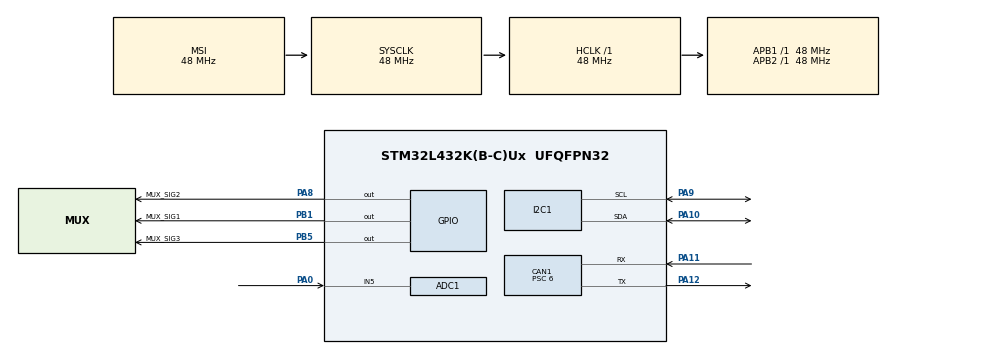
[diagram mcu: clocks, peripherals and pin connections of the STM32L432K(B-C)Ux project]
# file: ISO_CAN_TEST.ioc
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ADC1.Channel-0\#ChannelRegularConversion=ADC_CHANNEL_5
ADC1.NbrOfConversionFlag=1
ADC1.OffsetNumber-0\#ChannelRegularConversion=ADC_OFFSET_NONE
ADC1.Rank-0\#ChannelRegularConversion=1
ADC1.Resolution=ADC_RESOLUTION_12B
ADC1.SamplingTime-0\#ChannelRegularConversion=ADC_SAMPLETIME_2CYCLES_5
ADC1.master=1
CAN1.ABOM=ENABLE
CAN1.AWUM=ENABLE
CAN1.BS1=CAN_BS1_13TQ
CAN1.BS2=CAN_BS2_2TQ
CAN1.CalculateBaudRate=500000
CAN1.CalculateTimeBit=2000
CAN1.CalculateTimeQuantum=125.0
CAN1.Prescaler=6
I2C1.Timing=0x10805D88
Mcu.Family=STM32L4
Mcu.Name=STM32L432K(B-C)Ux
Mcu.Package=UFQFPN32
NVIC.CAN1_RX0_IRQn=true\:0\:0\:false\:false\:true\:true\:true\:true
NVIC.CAN1_TX_IRQn=true\:0\:0\:false\:false\:true\:true\:true\:true
NVIC.PriorityGroup=NVIC_PRIORITYGROUP_4
PA0.Signal=ADCx_IN5
PA10.GPIO_Pu=GPIO_PULLUP
PA10.Mode=I2C
PA10.Signal=I2C1_SDA
PA11.Mode=CAN_Activate
PA11.Signal=CAN1_RX
PA12.Mode=CAN_Activate
PA12.Signal=CAN1_TX
PA8.GPIO_Label=MUX_SIG2
PA8.GPIO_ModeDefaultOutputPP=GPIO_MODE_OUTPUT_PP
PA8.GPIO_PuPd=GPIO_PULLDOWN
PA8.PinState=GPIO_PIN_SET
PA8.Signal=GPIO_Output
PA9.GPIO_Pu=GPIO_PULLUP
PA9.Mode=I2C
PA9.Signal=I2C1_SCL
PB1.GPIO_Label=MUX_SIG1
PB1.GPIO_ModeDefaultOutputPP=GPIO_MODE_OUTPUT_PP
PB1.GPIO_PuPd=GPIO_PULLDOWN
PB1.PinState=GPIO_PIN_SET
PB1.Signal=GPIO_Output
PB5.GPIO_Label=MUX_SIG3
PB5.GPIO_ModeDefaultOutputPP=GPIO_MODE_OUTPUT_PP
PB5.GPIO_PuPd=GPIO_PULLDOWN
PB5.PinState=GPIO_PIN_SET
PB5.Signal=GPIO_Output
ProjectManager.HeapSize=0x200
ProjectManager.StackSize=0x400
ProjectManager.TargetToolchain=Makefile
RCC.ADCFreq_Value=64000000
RCC.AHBFreq_Value=48000000
RCC.APB1Freq_Value=48000000
RCC.APB1TimFreq_Value=48000000
RCC.APB2Freq_Value=48000000
RCC.APB2TimFreq_Value=48000000
RCC.CortexFreq_Value=48000000
RCC.HCLKFreq_Value=48000000
RCC.HSE_VALUE=8000000
RCC.HSI48_VALUE=48000000
RCC.HSI_VALUE=16000000
RCC.LSE_VALUE=32768
RCC.MSIClockRange=RCC_MSIRANGE_11
RCC.MSI_VALUE=48000000
RCC.PLLM=3
RCC.SYSCLKFreq_VALUE=48000000
RCC.USBFreq_Value=64000000
RCC.VCOOutputFreq_Value=128000000
SH.ADCx_IN5.0=ADC1_IN5,IN5-Single-Ended
VP_CRC_VS_CRC.Mode=CRC_Activate
board=custom

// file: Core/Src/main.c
/* USER CODE BEGIN Header */
/**
  ******************************************************************************
  * @file           : main.c
  * @brief          : Main program body
  ******************************************************************************
  * @attention
  *
  * Copyright (c) 2025 STMicroelectronics.
  * All rights reserved.
  *
  * This software is licensed under terms that can be found in the LICENSE file
  * in the root directory of this software component.
  * If no LICENSE file comes with this software, it is provided AS-IS.
  *
  ******************************************************************************
  */
/* USER CODE END Header */
#include "main.h"

/* USER CODE BEGIN Includes */
#include <stdint.h>
#include "system_config.h"
#include "bq76952_driver.h"
#include "can_handler.h"
#include "adc_handler.h"
/* USER CODE END Includes */

ADC_HandleTypeDef hadc1;

CAN_HandleTypeDef hcan1;

CRC_HandleTypeDef hcrc;

I2C_HandleTypeDef hi2c1;

void SystemClock_Config(void);
static void MX_GPIO_Init(void);
static void MX_ADC1_Init(void);
static void MX_CAN1_Init(void);
static void MX_CRC_Init(void);
static void MX_I2C1_Init(void);

int main(void)
{

  /* MCU Configuration--------------------------------------------------------*/

  /* Reset of all peripherals, Initializes the Flash interface and the Systick. */
  HAL_Init();

  /* Configure the system clock */
  SystemClock_Config();

  /* Initialize all configured peripherals */
  MX_GPIO_Init();
  MX_ADC1_Init();
  MX_CAN1_Init();
  MX_CRC_Init();
  MX_I2C1_Init();
  /* USER CODE BEGIN 2 */

  // Configure CAN
  CAN_Config();

  // Start CAN
  if (HAL_CAN_Start(&hcan1) != HAL_OK) {
    Error_Handler();
  }

  // Enable CAN RX interrupt for receiving temperature threshold commands
  if (HAL_CAN_ActivateNotification(&hcan1, CAN_IT_RX_FIFO0_MSG_PENDING) != HAL_OK) {
    Error_Handler();
  }

  // Enable CAN TX interrupt for transmission complete notifications
  if (HAL_CAN_ActivateNotification(&hcan1, CAN_IT_TX_MAILBOX_EMPTY) != HAL_OK) {
    Error_Handler();
  }

  // Calibrate ADC
  if (HAL_ADCEx_Calibration_Start(&hadc1, ADC_SINGLE_ENDED) != HAL_OK) {
    Error_Handler();
  }

  /* USER CODE END 2 */

  /* Infinite loop */
  /* USER CODE BEGIN WHILE */
  static uint32_t heartbeat_counter = 0;
  static uint32_t thermistor_counter = 0;
  float thermistor_temps[8];  // Array to store all 8 thermistor temperatures
  float adc_voltages[8];      // Array to store all 8 ADC voltage readings

  while (1)
  {
    /* USER CODE END WHILE */

    /* USER CODE BEGIN 3 */

    // Spread the heavy processing across multiple cycles to avoid timing hiccups
    uint8_t cycle_phase = thermistor_counter % 10;  // Changed to 10-cycle pattern for 0.1sec temp updates

    // Set MUX to current channel first (before any heavy processing)
    uint8_t current_channel = thermistor_counter % 8;  // Still cycle through 8 MUX channels
    MUX_SetChannel(current_channel);

    // Read single ADC value for current MUX channel (after MUX has settled)
    //uint16_t adc_value = ADC_ReadValue();

    // Single channel telemetry disabled for faster operation
    // CAN_TxThermistorData(current_channel, adc_value);

    // Do the heavy processing only on specific cycles, spread out
    if (cycle_phase == 0) {
      // Read all thermistor temperatures (cycle 0)
      ADC_ReadAllThermistors(thermistor_temps);
    } else if (cycle_phase == 1) {
      // Send thermistor temperatures in multiplexed CAN messages (cycle 1)
      CAN_TxAllThermistorsMux(thermistor_temps);
    } else if (cycle_phase == 2) {
      // Read all voltages (cycle 2) - kept for potential future use
      ADC_ReadAllVoltages(adc_voltages);
    } else if (cycle_phase == 3) {
      // ADC voltage telemetry disabled - no longer sending TELEMETRY_ADC messages
      // CAN_TxAllVoltagesMux(adc_voltages);
    }

    // Do lighter processing every cycle
    if (cycle_phase == 4) {
      // Read stack voltage from BQ76952 BMS
      uint16_t stack_voltage_mv = BQ76952_ReadStackVoltage();
      // Send stack voltage telemetry
      CAN_TxStackVoltage(stack_voltage_mv);
    } else if (cycle_phase == 5) {
      // Send all cell voltages in grouped format
      CAN_TxAllCellVoltagesMux();
    } else if (cycle_phase == 6) {
      // Process temperature-related CAN requests
      CAN_ProcessTemperatureRequests();
    }

    // Send heartbeat message every 1000 cycles (every 10 seconds with 10ms delay)
    if ((heartbeat_counter % 1000) == 0) {
      CAN_SendHeartbeat(heartbeat_counter);

      // Reset the RX flag after reporting it in heartbeat
      can_rx_flag = 0;
    }

    heartbeat_counter++;
    thermistor_counter++;

    // Very fast 10ms delay for 0.01 second per channel cycling
    HAL_Delay(10);
  }
  /* USER CODE END 3 */
}

void SystemClock_Config(void)
{
  RCC_OscInitTypeDef RCC_OscInitStruct = {0};
  RCC_ClkInitTypeDef RCC_ClkInitStruct = {0};

  /** Configure the main internal regulator output voltage
  */
  if (HAL_PWREx_ControlVoltageScaling(PWR_REGULATOR_VOLTAGE_SCALE1) != HAL_OK)
  {
    Error_Handler();
  }

  /** Initializes the RCC Oscillators according to the specified parameters
  * in the RCC_OscInitTypeDef structure.
  */
  RCC_OscInitStruct.OscillatorType = RCC_OSCILLATORTYPE_MSI;
  RCC_OscInitStruct.MSIState = RCC_MSI_ON;
  RCC_OscInitStruct.MSICalibrationValue = 0;
  RCC_OscInitStruct.MSIClockRange = RCC_MSIRANGE_11;
  RCC_OscInitStruct.PLL.PLLState = RCC_PLL_NONE;
  if (HAL_RCC_OscConfig(&RCC_OscInitStruct) != HAL_OK)
  {
    Error_Handler();
  }

  /** Initializes the CPU, AHB and APB buses clocks
  */
  RCC_ClkInitStruct.ClockType = RCC_CLOCKTYPE_HCLK|RCC_CLOCKTYPE_SYSCLK
                              |RCC_CLOCKTYPE_PCLK1|RCC_CLOCKTYPE_PCLK2;
  RCC_ClkInitStruct.SYSCLKSource = RCC_SYSCLKSOURCE_MSI;
  RCC_ClkInitStruct.AHBCLKDivider = RCC_SYSCLK_DIV1;
  RCC_ClkInitStruct.APB1CLKDivider = RCC_HCLK_DIV1;
  RCC_ClkInitStruct.APB2CLKDivider = RCC_HCLK_DIV1;

  if (HAL_RCC_ClockConfig(&RCC_ClkInitStruct, FLASH_LATENCY_2) != HAL_OK)
  {
    Error_Handler();
  }
}

static void MX_ADC1_Init(void)
{

  ADC_ChannelConfTypeDef sConfig = {0};

  /** Common config
  */
  hadc1.Instance = ADC1;
  hadc1.Init.ClockPrescaler = ADC_CLOCK_ASYNC_DIV1;
  hadc1.Init.Resolution = ADC_RESOLUTION_12B;
  hadc1.Init.DataAlign = ADC_DATAALIGN_RIGHT;
  hadc1.Init.ScanConvMode = ADC_SCAN_DISABLE;
  hadc1.Init.EOCSelection = ADC_EOC_SINGLE_CONV;
  hadc1.Init.LowPowerAutoWait = DISABLE;
  hadc1.Init.ContinuousConvMode = DISABLE;
  hadc1.Init.NbrOfConversion = 1;
  hadc1.Init.DiscontinuousConvMode = DISABLE;
  hadc1.Init.ExternalTrigConv = ADC_SOFTWARE_START;
  hadc1.Init.ExternalTrigConvEdge = ADC_EXTERNALTRIGCONVEDGE_NONE;
  hadc1.Init.DMAContinuousRequests = DISABLE;
  hadc1.Init.Overrun = ADC_OVR_DATA_PRESERVED;
  hadc1.Init.OversamplingMode = DISABLE;
  if (HAL_ADC_Init(&hadc1) != HAL_OK)
  {
    Error_Handler();
  }

  /** Configure Regular Channel
  */
  sConfig.Channel = ADC_CHANNEL_5;
  sConfig.Rank = ADC_REGULAR_RANK_1;
  sConfig.SamplingTime = ADC_SAMPLETIME_2CYCLES_5;
  sConfig.SingleDiff = ADC_SINGLE_ENDED;
  sConfig.OffsetNumber = ADC_OFFSET_NONE;
  sConfig.Offset = 0;
  if (HAL_ADC_ConfigChannel(&hadc1, &sConfig) != HAL_OK)
  {
    Error_Handler();
  }

}

static void MX_CAN1_Init(void)
{

  hcan1.Instance = CAN1;
  hcan1.Init.Prescaler = 6;
  hcan1.Init.Mode = CAN_MODE_NORMAL;
  hcan1.Init.SyncJumpWidth = CAN_SJW_1TQ;
  hcan1.Init.TimeSeg1 = CAN_BS1_13TQ;
  hcan1.Init.TimeSeg2 = CAN_BS2_2TQ;
  hcan1.Init.TimeTriggeredMode = DISABLE;
  hcan1.Init.AutoBusOff = ENABLE;
  hcan1.Init.AutoWakeUp = ENABLE;
  hcan1.Init.AutoRetransmission = DISABLE;
  hcan1.Init.ReceiveFifoLocked = DISABLE;
  hcan1.Init.TransmitFifoPriority = DISABLE;
  if (HAL_CAN_Init(&hcan1) != HAL_OK)
  {
    Error_Handler();
  }

}

static void MX_CRC_Init(void)
{

  hcrc.Instance = CRC;
  hcrc.Init.DefaultPolynomialUse = DEFAULT_POLYNOMIAL_ENABLE;
  hcrc.Init.DefaultInitValueUse = DEFAULT_INIT_VALUE_ENABLE;
  hcrc.Init.InputDataInversionMode = CRC_INPUTDATA_INVERSION_NONE;
  hcrc.Init.OutputDataInversionMode = CRC_OUTPUTDATA_INVERSION_DISABLE;
  hcrc.InputDataFormat = CRC_INPUTDATA_FORMAT_BYTES;
  if (HAL_CRC_Init(&hcrc) != HAL_OK)
  {
    Error_Handler();
  }

}

static void MX_I2C1_Init(void)
{

  hi2c1.Instance = I2C1;
  hi2c1.Init.Timing = 0x10805D88;
  hi2c1.Init.OwnAddress1 = 0;
  hi2c1.Init.AddressingMode = I2C_ADDRESSINGMODE_7BIT;
  hi2c1.Init.DualAddressMode = I2C_DUALADDRESS_DISABLE;
  hi2c1.Init.OwnAddress2 = 0;
  hi2c1.Init.OwnAddress2Masks = I2C_OA2_NOMASK;
  hi2c1.Init.GeneralCallMode = I2C_GENERALCALL_DISABLE;
  hi2c1.Init.NoStretchMode = I2C_NOSTRETCH_DISABLE;
  if (HAL_I2C_Init(&hi2c1) != HAL_OK)
  {
    Error_Handler();
  }

  /** Configure Analogue filter
  */
  if (HAL_I2CEx_ConfigAnalogFilter(&hi2c1, I2C_ANALOGFILTER_ENABLE) != HAL_OK)
  {
    Error_Handler();
  }

  /** Configure Digital filter
  */
  if (HAL_I2CEx_ConfigDigitalFilter(&hi2c1, 0) != HAL_OK)
  {
    Error_Handler();
  }

}

static void MX_GPIO_Init(void)
{
  GPIO_InitTypeDef GPIO_InitStruct = {0};

  /* GPIO Ports Clock Enable */
  __HAL_RCC_GPIOA_CLK_ENABLE();
  __HAL_RCC_GPIOB_CLK_ENABLE();

  /*Configure GPIO pin Output Level */
  HAL_GPIO_WritePin(GPIOB, MUX_SIG1_Pin|MUX_SIG3_Pin, GPIO_PIN_SET);

  /*Configure GPIO pin Output Level */
  HAL_GPIO_WritePin(MUX_SIG2_GPIO_Port, MUX_SIG2_Pin, GPIO_PIN_SET);

  /*Configure GPIO pins : MUX_SIG1_Pin MUX_SIG3_Pin */
  GPIO_InitStruct.Pin = MUX_SIG1_Pin|MUX_SIG3_Pin;
  GPIO_InitStruct.Mode = GPIO_MODE_OUTPUT_PP;
  GPIO_InitStruct.Pull = GPIO_PULLDOWN;
  GPIO_InitStruct.Speed = GPIO_SPEED_FREQ_LOW;
  HAL_GPIO_Init(GPIOB, &GPIO_InitStruct);

  /*Configure GPIO pin : MUX_SIG2_Pin */
  GPIO_InitStruct.Pin = MUX_SIG2_Pin;
  GPIO_InitStruct.Mode = GPIO_MODE_OUTPUT_PP;
  GPIO_InitStruct.Pull = GPIO_PULLDOWN;
  GPIO_InitStruct.Speed = GPIO_SPEED_FREQ_LOW;
  HAL_GPIO_Init(MUX_SIG2_GPIO_Port, &GPIO_InitStruct);

}

void Error_Handler(void)
{
  __disable_irq();
  while (1)
  {
  }
}
